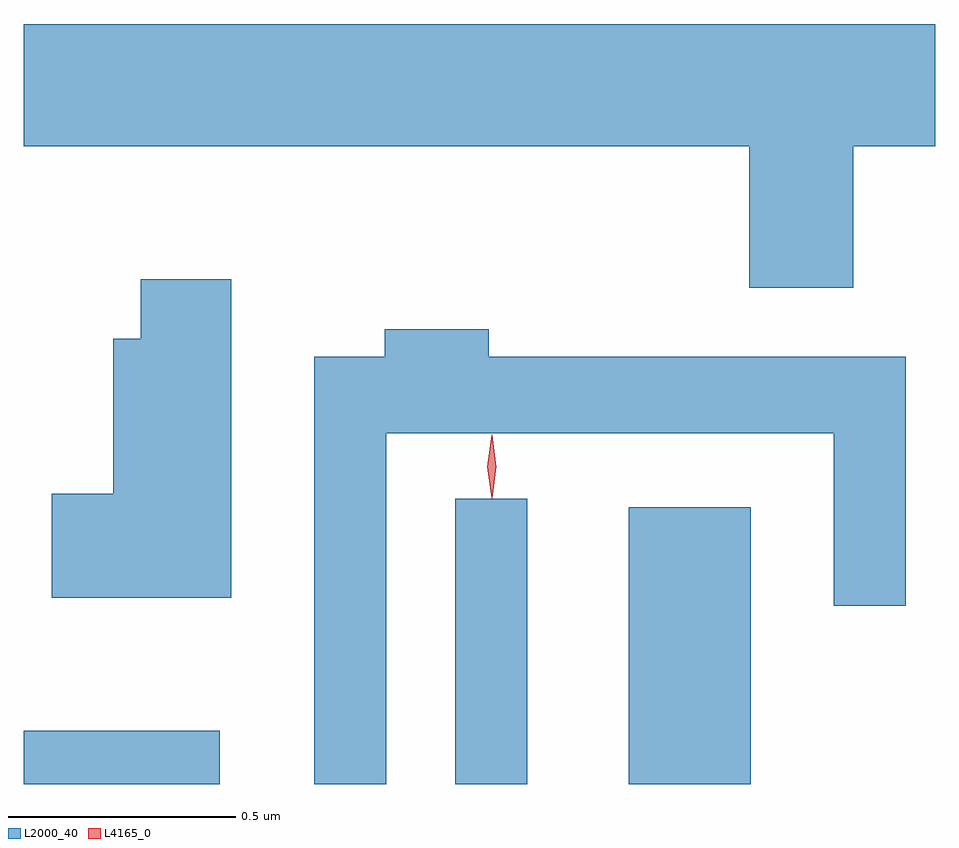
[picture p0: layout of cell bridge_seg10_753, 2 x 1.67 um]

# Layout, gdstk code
import gdstk
lib = gdstk.Library(unit=1e-6, precision=1e-09)
def R(c, l, rs):  # rectangles x0, y0, x1, y1
    for r in rs: c.add(gdstk.rectangle(r[:2], r[2:], *l))
def P(c, l, *ps):  # polygons
    for p in ps: c.add(gdstk.Polygon(p, *l))
L2000_40 = (2000, 40)
L4165_0 = (4165, 0)

bridge_seg10_753 = lib.new_cell('bridge_seg10_753')
R(bridge_seg10_753, L2000_40, [(908.789,2141.377,909.219,2141.494), (909.736,2141.377,909.894,2142.003), (910.116,2141.377,910.384,2141.984)])
P(bridge_seg10_753, L2000_40, [(910.609,2142.776),(910.789,2142.776),(910.789,2143.044),(908.789,2143.044),(908.789,2142.776),(910.381,2142.776),(910.381,2142.466),(910.609,2142.466)],
  [(909.244,2142.484),(909.046,2142.484),(909.046,2142.354),(908.986,2142.354),(908.986,2142.014),(908.851,2142.014),(908.851,2141.786),(909.244,2141.786)],
  [(909.584,2142.146),(910.566,2142.146),(910.566,2141.768),(910.724,2141.768),(910.724,2142.314),(909.809,2142.314),(909.809,2142.374),(909.581,2142.374),(909.581,2142.314),(909.426,2142.314),(909.426,2141.377),(909.584,2141.377)])
P(bridge_seg10_753, L4165_0, [(909.816,2142.004),(909.816,2142.004),(909.806,2142.073),(909.816,2142.143),(909.816,2142.143),(909.817,2142.143),(909.826,2142.073),(909.817,2142.004)])

lib.write_gds('bridge_seg10_753.gds')
